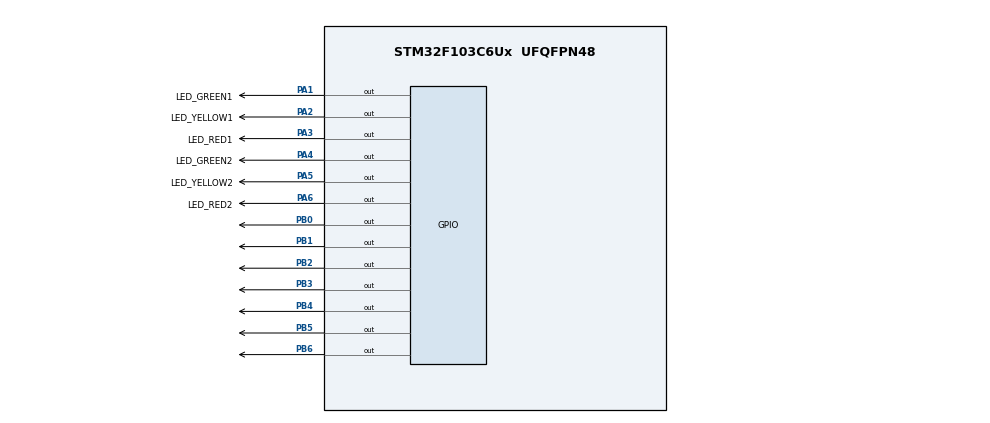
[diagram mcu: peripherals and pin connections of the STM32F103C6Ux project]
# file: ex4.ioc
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Mcu.Family=STM32F1
Mcu.Name=STM32F103C6Ux
Mcu.Package=UFQFPN48
NVIC.PriorityGroup=NVIC_PRIORITYGROUP_4
PA1.GPIO_Label=LED_GREEN1
PA1.Signal=GPIO_Output
PA2.GPIO_Label=LED_YELLOW1
PA2.Signal=GPIO_Output
PA3.GPIO_Label=LED_RED1
PA3.Signal=GPIO_Output
PA4.GPIO_Label=LED_GREEN2
PA4.Signal=GPIO_Output
PA5.GPIO_Label=LED_YELLOW2
PA5.Signal=GPIO_Output
PA6.GPIO_Label=LED_RED2
PA6.Signal=GPIO_Output
PB0.Signal=GPIO_Output
PB1.Signal=GPIO_Output
PB2.Signal=GPIO_Output
PB3.Signal=GPIO_Output
PB4.Signal=GPIO_Output
PB5.Signal=GPIO_Output
PB6.Signal=GPIO_Output
ProjectManager.HeapSize=0x200
ProjectManager.StackSize=0x400
ProjectManager.TargetToolchain=STM32CubeIDE
RCC.APB1Freq_Value=8000000
RCC.APB2Freq_Value=8000000
VP_SYS_VS_ND.Mode=No_Debug
board=custom

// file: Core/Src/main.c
/* USER CODE BEGIN Header */
/**
  ******************************************************************************
  * @file           : main.c
  * @brief          : Main program body
  ******************************************************************************
  * @attention
  *
  * <h2><center>&copy; Copyright (c) 2022 STMicroelectronics.
  * All rights reserved.</center></h2>
  *
  * This software component is licensed by ST under BSD 3-Clause license,
  * the "License"; You may not use this file except in compliance with the
  * License. You may obtain a copy of the License at:
  *                        opensource.org/licenses/BSD-3-Clause
  *
  ******************************************************************************
  */
/* USER CODE END Header */
#include "main.h"

void SystemClock_Config(void);
static void MX_GPIO_Init(void);

/* USER CODE BEGIN 0 */
 void state_7seg(int a ,int b , int c , int d , int e ,int f, int g){
	   HAL_GPIO_WritePin(GPIOB, GPIO_PIN_0,a);
	   HAL_GPIO_WritePin(GPIOB, GPIO_PIN_1,b);
	   HAL_GPIO_WritePin(GPIOB, GPIO_PIN_2,c);
	   HAL_GPIO_WritePin(GPIOB, GPIO_PIN_3,d);
	   HAL_GPIO_WritePin(GPIOB, GPIO_PIN_4,e);
	   HAL_GPIO_WritePin(GPIOB, GPIO_PIN_5,f);
	   HAL_GPIO_WritePin(GPIOB, GPIO_PIN_6,g);
 }

 void count_led7seg(int num){
	 if (num == 0){
		state_7seg(0,0,0,0,0,0,1);
	 }
	 if (num == 1){
		 state_7seg(1,0,0,1,1,1,1);
	 }
	 if (num == 2){
		 state_7seg(0,0,1,0,0,1,0);
	 }
	 if (num == 3){
		 state_7seg(0,0,0,0,1,1,0);
	 }
	 if (num == 4){
		 state_7seg(1,0,0,1,1,0,0);
	 }
	 if (num == 5){
		 state_7seg(0,1,0,0,1,0,0);
	 }
	 if (num == 6){
		 state_7seg(0,1,0,0,0,0,0);
	 }
	 if(num == 7){
		 state_7seg(0,0,0,1,1,1,1);
	 }
	 if (num == 8){
		 state_7seg(0,0,0,0,0,0,0);
	 }
	 if(num == 9){
		 state_7seg(0,0,0,0,1,0,0);
	 }
	 if(num >= 10){
		 state_7seg(0,0,0,0,0,0,1);
	 }
 }

/* USER CODE END 0 */

int main(void)
{

  /* MCU Configuration--------------------------------------------------------*/

  /* Reset of all peripherals, Initializes the Flash interface and the Systick. */
  HAL_Init();

  /* Configure the system clock */
  SystemClock_Config();

  /* Initialize all configured peripherals */
  MX_GPIO_Init();

  /* Infinite loop */
  /* USER CODE BEGIN WHILE */
  int count = 0;
  HAL_GPIO_WritePin(LED_RED1_GPIO_Port,LED_RED1_Pin,1 );
  HAL_GPIO_WritePin(LED_GREEN1_GPIO_Port, LED_GREEN1_Pin,1);
  HAL_GPIO_WritePin(LED_YELLOW1_GPIO_Port, LED_YELLOW1_Pin,1);
  HAL_GPIO_WritePin(LED_GREEN2_GPIO_Port, LED_GREEN2_Pin,1);
  HAL_GPIO_WritePin(LED_RED2_GPIO_Port,LED_RED2_Pin,1 );
  HAL_GPIO_WritePin(LED_YELLOW2_GPIO_Port, LED_YELLOW2_Pin,1);
  while (1)
   {
	  count_led7seg(count);
  	  count++;
	  if(count <= 5){
		  HAL_GPIO_WritePin(LED_RED1_GPIO_Port,LED_RED1_Pin,0 );
		  HAL_GPIO_WritePin(LED_RED2_GPIO_Port,LED_RED2_Pin,1 );
		  HAL_GPIO_WritePin(LED_YELLOW1_GPIO_Port, LED_YELLOW1_Pin,1);
		  if (count <=3){
			  HAL_GPIO_WritePin(LED_GREEN2_GPIO_Port, LED_GREEN2_Pin,0);
		  }
		  else if (count>3 && count <=5){
			  HAL_GPIO_WritePin(LED_GREEN2_GPIO_Port, LED_GREEN2_Pin,1);
			  HAL_GPIO_WritePin(LED_YELLOW2_GPIO_Port, LED_YELLOW2_Pin,0);
		  }
	  }
	  else if (count > 5 && count <= 10){
		  HAL_GPIO_WritePin(LED_RED1_GPIO_Port,LED_RED1_Pin,1 );
		  HAL_GPIO_WritePin(LED_YELLOW2_GPIO_Port, LED_YELLOW2_Pin,1);
		  HAL_GPIO_WritePin(LED_RED2_GPIO_Port,LED_RED2_Pin,0 );
		  if (count <= 8){
			  HAL_GPIO_WritePin(LED_GREEN1_GPIO_Port, LED_GREEN1_Pin,0);
		  }
		  else if (count >8 && count <=10){
			  HAL_GPIO_WritePin(LED_YELLOW1_GPIO_Port, LED_YELLOW1_Pin,0);
			  HAL_GPIO_WritePin(LED_GREEN1_GPIO_Port, LED_GREEN1_Pin,1);
			  if (count == 10){
				  count = 0;
			  }
		  }
	  }
	  HAL_Delay(1000);
    /* USER CODE END WHILE */
   }
}

void SystemClock_Config(void)
{
  RCC_OscInitTypeDef RCC_OscInitStruct = {0};
  RCC_ClkInitTypeDef RCC_ClkInitStruct = {0};

  /** Initializes the RCC Oscillators according to the specified parameters
  * in the RCC_OscInitTypeDef structure.
  */
  RCC_OscInitStruct.OscillatorType = RCC_OSCILLATORTYPE_HSI;
  RCC_OscInitStruct.HSIState = RCC_HSI_ON;
  RCC_OscInitStruct.HSICalibrationValue = RCC_HSICALIBRATION_DEFAULT;
  RCC_OscInitStruct.PLL.PLLState = RCC_PLL_NONE;
  if (HAL_RCC_OscConfig(&RCC_OscInitStruct) != HAL_OK)
  {
    Error_Handler();
  }
  /** Initializes the CPU, AHB and APB buses clocks
  */
  RCC_ClkInitStruct.ClockType = RCC_CLOCKTYPE_HCLK|RCC_CLOCKTYPE_SYSCLK
                              |RCC_CLOCKTYPE_PCLK1|RCC_CLOCKTYPE_PCLK2;
  RCC_ClkInitStruct.SYSCLKSource = RCC_SYSCLKSOURCE_HSI;
  RCC_ClkInitStruct.AHBCLKDivider = RCC_SYSCLK_DIV1;
  RCC_ClkInitStruct.APB1CLKDivider = RCC_HCLK_DIV1;
  RCC_ClkInitStruct.APB2CLKDivider = RCC_HCLK_DIV1;

  if (HAL_RCC_ClockConfig(&RCC_ClkInitStruct, FLASH_LATENCY_0) != HAL_OK)
  {
    Error_Handler();
  }
}

static void MX_GPIO_Init(void)
{
  GPIO_InitTypeDef GPIO_InitStruct = {0};

  /* GPIO Ports Clock Enable */
  __HAL_RCC_GPIOA_CLK_ENABLE();
  __HAL_RCC_GPIOB_CLK_ENABLE();

  /*Configure GPIO pin Output Level */
  HAL_GPIO_WritePin(GPIOA, LED_GREEN1_Pin|LED_YELLOW1_Pin|LED_RED1_Pin|LED_GREEN2_Pin
                          |LED_YELLOW2_Pin|LED_RED2_Pin, GPIO_PIN_RESET);

  /*Configure GPIO pin Output Level */
  HAL_GPIO_WritePin(GPIOB, GPIO_PIN_0|GPIO_PIN_1|GPIO_PIN_2|GPIO_PIN_3
                          |GPIO_PIN_4|GPIO_PIN_5|GPIO_PIN_6, GPIO_PIN_RESET);

  /*Configure GPIO pins : LED_GREEN1_Pin LED_YELLOW1_Pin LED_RED1_Pin LED_GREEN2_Pin
                           LED_YELLOW2_Pin LED_RED2_Pin */
  GPIO_InitStruct.Pin = LED_GREEN1_Pin|LED_YELLOW1_Pin|LED_RED1_Pin|LED_GREEN2_Pin
                          |LED_YELLOW2_Pin|LED_RED2_Pin;
  GPIO_InitStruct.Mode = GPIO_MODE_OUTPUT_PP;
  GPIO_InitStruct.Pull = GPIO_NOPULL;
  GPIO_InitStruct.Speed = GPIO_SPEED_FREQ_LOW;
  HAL_GPIO_Init(GPIOA, &GPIO_InitStruct);

  /*Configure GPIO pins : PB0 PB1 PB2 PB3
                           PB4 PB5 PB6 */
  GPIO_InitStruct.Pin = GPIO_PIN_0|GPIO_PIN_1|GPIO_PIN_2|GPIO_PIN_3
                          |GPIO_PIN_4|GPIO_PIN_5|GPIO_PIN_6;
  GPIO_InitStruct.Mode = GPIO_MODE_OUTPUT_PP;
  GPIO_InitStruct.Pull = GPIO_NOPULL;
  GPIO_InitStruct.Speed = GPIO_SPEED_FREQ_LOW;
  HAL_GPIO_Init(GPIOB, &GPIO_InitStruct);

}

void Error_Handler(void)
{
  __disable_irq();
  while (1)
  {
  }
}

/************************ (C) COPYRIGHT STMicroelectronics *****END OF FILE****/
